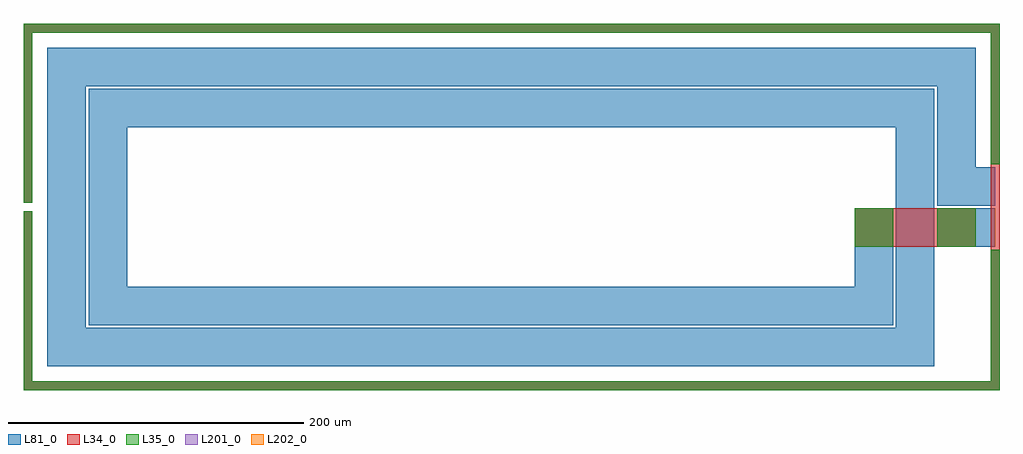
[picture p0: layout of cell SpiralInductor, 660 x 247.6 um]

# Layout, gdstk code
import gdstk
lib = gdstk.Library(unit=1e-6, precision=1e-09)
def R(c, l, rs):  # rectangles x0, y0, x1, y1
    for r in rs: c.add(gdstk.rectangle(r[:2], r[2:], *l))
def P(c, l, *ps):  # polygons
    for p in ps: c.add(gdstk.Polygon(p, *l))
L34_0 = (34, 0)
L35_0 = (35, 0)
L81_0 = (81, 0)
L201_0 = (201, 0)
L202_0 = (202, 0)

spiralinductor = lib.new_cell('SpiralInductor')
R(spiralinductor, L34_0, [(-330,-123.8,-324,-3), (-330,-123.8,330,-117.8), (324,-123.8,330,-29), (324,-29,330,29), (232,-27,314,-1), (-330,3,-324,123.8), (324,29,330,123.8), (-330,117.8,330,123.8)])
R(spiralinductor, L35_0, [(-330,-123.8,-324,-3), (-330,-123.8,330,-117.8), (324,-123.8,330,-29), (232,-27,258,-1), (288,-27,314,-1), (-330,3,-324,123.8), (324,29,330,123.8), (-330,117.8,330,123.8)])
R(spiralinductor, L81_0, [(-330,-123.8,-324,-3), (-330,-123.8,330,-117.8), (324,-123.8,330,-29), (288,-27,327,-1), (-330,3,-324,123.8), (324,29,330,123.8), (-330,117.8,330,123.8)])
P(spiralinductor, L81_0, [(-314,-107.8),(-314,107.8),(314,107.8),(314,27),(327,27),(327,1),(288,1),(288,81.8),(-288,81.8),(-288,-81.8),(260,-81.8),(260,53.8),(-260,53.8),(-260,-53.8),(232,-53.8),(232,-1),(258,-1),(258,-79.8),(-286,-79.8),(-286,79.8),(286,79.8),(286,-107.8)])
P(spiralinductor, L201_0, [(327,1),(327,27),(327,27),(327,1)])
P(spiralinductor, L202_0, [(327,-27),(327,-1),(327,-1),(327,-27)])

lib.write_gds('SpiralInductor.gds')
